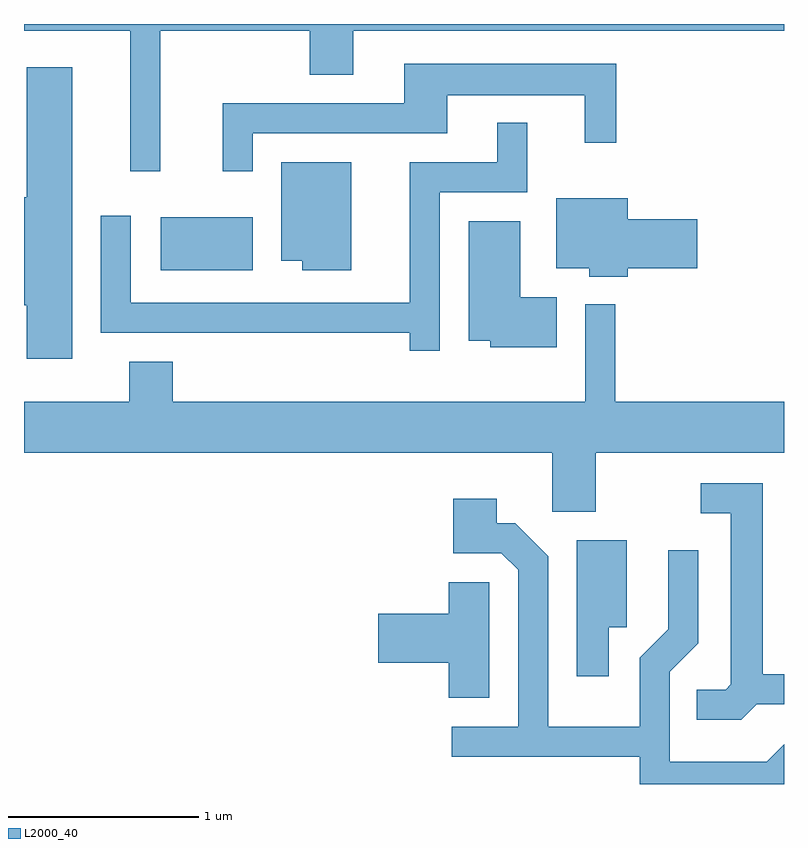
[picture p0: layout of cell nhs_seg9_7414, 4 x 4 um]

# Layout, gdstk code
import gdstk
lib = gdstk.Library(unit=1e-6, precision=1e-09)
def R(c, l, rs):  # rectangles x0, y0, x1, y1
    for r in rs: c.add(gdstk.rectangle(r[:2], r[2:], *l))
def P(c, l, *ps):  # polygons
    for p in ps: c.add(gdstk.Polygon(p, *l))
L2000_40 = (2000, 40)

nhs_seg9_7414 = lib.new_cell('nhs_seg9_7414')
R(nhs_seg9_7414, L2000_40, [(404.331,2077.136,404.814,2077.414)])
P(nhs_seg9_7414, L2000_40, [(404.329,2078.396),(405.116,2078.396),(405.116,2078.166),(405.344,2078.166),(405.344,2078.396),(407.611,2078.396),(407.611,2078.432),(403.611,2078.432),(403.611,2078.396),(404.171,2078.396),(404.171,2077.658),(404.329,2077.658)],
  [(404.814,2077.856),(405.839,2077.856),(405.839,2078.056),(406.561,2078.056),(406.561,2077.808),(406.729,2077.808),(406.729,2078.224),(405.611,2078.224),(405.611,2078.014),(404.656,2078.014),(404.656,2077.658),(404.814,2077.658)],
  [(403.864,2078.204),(403.626,2078.204),(403.626,2077.519),(403.611,2077.519),(403.611,2076.951),(403.626,2076.951),(403.626,2076.671),(403.864,2076.671)],
  [(405.799,2077.546),(406.259,2077.546),(406.259,2077.913),(406.101,2077.913),(406.101,2077.704),(405.641,2077.704),(405.641,2076.964),(404.174,2076.964),(404.174,2077.423),(404.016,2077.423),(404.016,2076.806),(405.641,2076.806),(405.641,2076.713),(405.799,2076.713)],
  [(405.334,2077.704),(404.966,2077.704),(404.966,2077.186),(405.076,2077.186),(405.076,2077.136),(405.334,2077.136)],
  [(406.789,2077.146),(407.154,2077.146),(407.154,2077.404),(406.789,2077.404),(406.789,2077.514),(406.411,2077.514),(406.411,2077.146),(406.586,2077.146),(406.586,2077.101),(406.789,2077.101)],
  [(406.414,2076.994),(406.224,2076.994),(406.224,2077.394),(405.951,2077.394),(405.951,2076.766),(406.066,2076.766),(406.066,2076.731),(406.414,2076.731)],
  [(406.619,2076.176),(407.611,2076.176),(407.611,2076.444),(406.724,2076.444),(406.724,2076.958),(406.566,2076.958),(406.566,2076.444),(404.394,2076.444),(404.394,2076.654),(404.166,2076.654),(404.166,2076.444),(403.611,2076.444),(403.611,2076.176),(406.391,2076.176),(406.391,2075.866),(406.619,2075.866)],
  [(407.467,2074.851),(407.611,2074.851),(407.611,2075.009),(407.499,2075.009),(407.499,2076.014),(407.173,2076.014),(407.173,2075.856),(407.331,2075.856),(407.331,2074.957),(407.304,2074.929),(407.153,2074.929),(407.153,2074.771),(407.387,2074.771)],
  [(407.611,2074.641),(407.519,2074.549),(407.009,2074.549),(407.009,2075.024),(407.159,2075.173),(407.159,2075.663),(407.001,2075.663),(407.001,2075.247),(406.851,2075.097),(406.851,2074.734),(406.369,2074.734),(406.369,2075.632),(406.197,2075.804),(406.099,2075.804),(406.099,2075.934),(405.871,2075.934),(405.871,2075.646),(406.124,2075.646),(406.211,2075.559),(406.211,2074.734),(405.863,2074.734),(405.863,2074.576),(406.851,2074.576),(406.851,2074.432),(407.611,2074.432)],
  [(406.689,2075.256),(406.784,2075.256),(406.784,2075.714),(406.521,2075.714),(406.521,2074.998),(406.689,2074.998)],
  [(406.059,2075.494),(405.846,2075.494),(405.846,2075.329),(405.476,2075.329),(405.476,2075.071),(405.846,2075.071),(405.846,2074.886),(406.059,2074.886)])

lib.write_gds('nhs_seg9_7414.gds')
